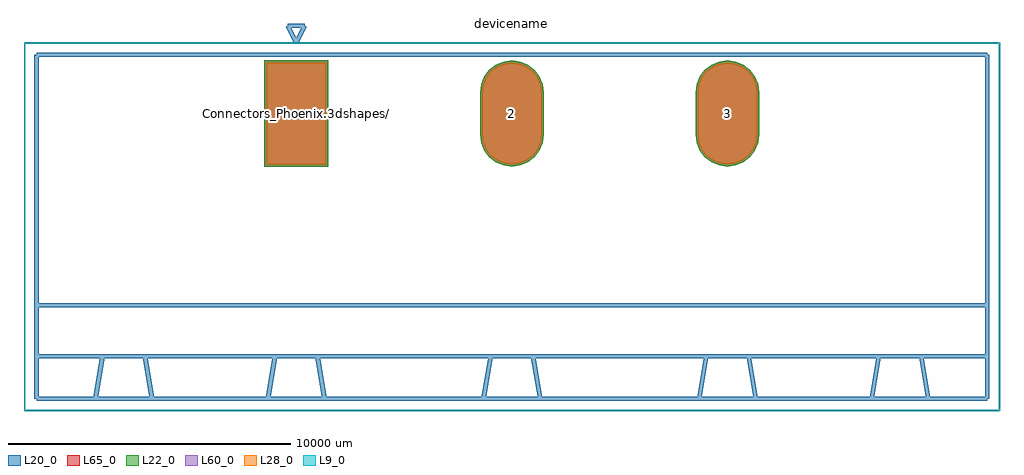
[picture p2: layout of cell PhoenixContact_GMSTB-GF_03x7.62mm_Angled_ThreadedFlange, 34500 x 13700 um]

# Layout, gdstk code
import gdstk
lib = gdstk.Library(unit=1e-6, precision=1e-09)
def R(c, l, rs):  # rectangles x0, y0, x1, y1
    for r in rs: c.add(gdstk.rectangle(r[:2], r[2:], *l))
def P(c, l, *ps):  # polygons
    for p in ps: c.add(gdstk.Polygon(p, *l))
L9_0 = (9, 0)
L20_0 = (20, 0)
L22_0 = (22, 0)
L28_0 = (28, 0)
L60_0 = (60, 0)
L65_0 = (65, 0)

phoenixcontact_gmstb_gf_ = lib.new_cell('PhoenixContact_GMSTB-GF_03x7.62mm_Angled_ThreadedFlange')
R(phoenixcontact_gmstb_gf_, L22_0, [(-1125,-1875,1125,1875)])
P(phoenixcontact_gmstb_gf_, L22_0, [(15240,-1875),(15531.171,-1836.667),(15802.5,-1724.279),(16035.495,-1545.495),(16214.279,-1312.5),(16326.667,-1041.171),(16365,-750),(16365,750),(16326.667,1041.171),(16214.279,1312.5),(16035.495,1545.495),(15802.5,1724.279),(15531.171,1836.667),(15240,1875),(14948.829,1836.667),(14677.5,1724.279),(14444.505,1545.495),(14265.721,1312.5),(14153.333,1041.171),(14115,750),(14115,-750),(14153.333,-1041.171),(14265.721,-1312.5),(14444.505,-1545.495),(14677.5,-1724.279),(14948.829,-1836.667)],
  [(7620,-1875),(7911.171,-1836.667),(8182.5,-1724.279),(8415.495,-1545.495),(8594.279,-1312.5),(8706.667,-1041.171),(8745,-750),(8745,750),(8706.667,1041.171),(8594.279,1312.5),(8415.495,1545.495),(8182.5,1724.279),(7911.171,1836.667),(7620,1875),(7328.829,1836.667),(7057.5,1724.279),(6824.505,1545.495),(6645.721,1312.5),(6533.333,1041.171),(6495,750),(6495,-750),(6533.333,-1041.171),(6645.721,-1312.5),(6824.505,-1545.495),(7057.5,-1724.279),(7328.829,-1836.667)])
R(phoenixcontact_gmstb_gf_, L28_0, [(-1050,-1800,1050,1800)])
P(phoenixcontact_gmstb_gf_, L28_0, [(15240,-1800),(15511.76,-1764.222),(15765,-1659.327),(15982.462,-1492.462),(16149.327,-1275),(16254.222,-1021.76),(16290,-750),(16290,750),(16254.222,1021.76),(16149.327,1275),(15982.462,1492.462),(15765,1659.327),(15511.76,1764.222),(15240,1800),(14968.24,1764.222),(14715,1659.327),(14497.538,1492.462),(14330.673,1275),(14225.778,1021.76),(14190,750),(14190,-750),(14225.778,-1021.76),(14330.673,-1275),(14497.538,-1492.462),(14715,-1659.327),(14968.24,-1764.222)],
  [(7620,-1800),(7891.76,-1764.222),(8145,-1659.327),(8362.462,-1492.462),(8529.327,-1275),(8634.222,-1021.76),(8670,-750),(8670,750),(8634.222,1021.76),(8529.327,1275),(8362.462,1492.462),(8145,1659.327),(7891.76,1764.222),(7620,1800),(7348.24,1764.222),(7095,1659.327),(6877.538,1492.462),(6710.673,1275),(6605.778,1021.76),(6570,750),(6570,-750),(6605.778,-1021.76),(6710.673,-1275),(6877.538,-1492.462),(7095,-1659.327),(7348.24,-1764.222)])
R(phoenixcontact_gmstb_gf_, L60_0, [(-1050,-1800,1050,1800)])
P(phoenixcontact_gmstb_gf_, L60_0, [(15240,-1800),(15511.76,-1764.222),(15765,-1659.327),(15982.462,-1492.462),(16149.327,-1275),(16254.222,-1021.76),(16290,-750),(16290,750),(16254.222,1021.76),(16149.327,1275),(15982.462,1492.462),(15765,1659.327),(15511.76,1764.222),(15240,1800),(14968.24,1764.222),(14715,1659.327),(14497.538,1492.462),(14330.673,1275),(14225.778,1021.76),(14190,750),(14190,-750),(14225.778,-1021.76),(14330.673,-1275),(14497.538,-1492.462),(14715,-1659.327),(14968.24,-1764.222)],
  [(7620,-1800),(7891.76,-1764.222),(8145,-1659.327),(8362.462,-1492.462),(8529.327,-1275),(8634.222,-1021.76),(8670,-750),(8670,750),(8634.222,1021.76),(8529.327,1275),(8362.462,1492.462),(8145,1659.327),(7891.76,1764.222),(7620,1800),(7348.24,1764.222),(7095,1659.327),(6877.538,1492.462),(6710.673,1275),(6605.778,1021.76),(6570,750),(6570,-750),(6605.778,-1021.76),(6710.673,-1275),(6877.538,-1492.462),(7095,-1659.327),(7348.24,-1764.222)])
R(phoenixcontact_gmstb_gf_, L65_0, [(-1125,-1875,1125,1875)])
P(phoenixcontact_gmstb_gf_, L65_0, [(15240,-1875),(15531.171,-1836.667),(15802.5,-1724.279),(16035.495,-1545.495),(16214.279,-1312.5),(16326.667,-1041.171),(16365,-750),(16365,750),(16326.667,1041.171),(16214.279,1312.5),(16035.495,1545.495),(15802.5,1724.279),(15531.171,1836.667),(15240,1875),(14948.829,1836.667),(14677.5,1724.279),(14444.505,1545.495),(14265.721,1312.5),(14153.333,1041.171),(14115,750),(14115,-750),(14153.333,-1041.171),(14265.721,-1312.5),(14444.505,-1545.495),(14677.5,-1724.279),(14948.829,-1836.667)],
  [(7620,-1875),(7911.171,-1836.667),(8182.5,-1724.279),(8415.495,-1545.495),(8594.279,-1312.5),(8706.667,-1041.171),(8745,-750),(8745,750),(8706.667,1041.171),(8594.279,1312.5),(8415.495,1545.495),(8182.5,1724.279),(7911.171,1836.667),(7620,1875),(7328.829,1836.667),(7057.5,1724.279),(6824.505,1545.495),(6645.721,1312.5),(6533.333,1041.171),(6495,750),(6495,-750),(6533.333,-1041.171),(6645.721,-1312.5),(6824.505,-1545.495),(7057.5,-1724.279),(7328.829,-1836.667)])
phoenixcontact_gmstb_gf_.add(gdstk.FlexPath([(-300,3100),(0,2500)], 149.998, ends="flush", simple_path=True, layer=20, datatype=0))  # L20_0
phoenixcontact_gmstb_gf_.add(gdstk.FlexPath([(300,3100),(-300,3100)], 149.998, ends="flush", simple_path=True, layer=20, datatype=0))  # L20_0
phoenixcontact_gmstb_gf_.add(gdstk.FlexPath([(0,2500),(300,3100)], 149.998, ends="flush", simple_path=True, layer=20, datatype=0))  # L20_0
phoenixcontact_gmstb_gf_.add(gdstk.FlexPath([(24850,2500),(-9600,2500)], 50, ends="flush", simple_path=True, layer=9, datatype=0))  # L9_0
phoenixcontact_gmstb_gf_.add(gdstk.FlexPath([(24850,-10500),(24850,2500)], 50, ends="flush", simple_path=True, layer=9, datatype=0))  # L9_0
phoenixcontact_gmstb_gf_.add(gdstk.FlexPath([(-9600,-10500),(24850,-10500)], 50, ends="flush", simple_path=True, layer=9, datatype=0))  # L9_0
phoenixcontact_gmstb_gf_.add(gdstk.FlexPath([(-9600,2500),(-9600,-10500)], 50, ends="flush", simple_path=True, layer=9, datatype=0))  # L9_0
phoenixcontact_gmstb_gf_.add(gdstk.FlexPath([(14490,-8580),(14240,-10080)], 149.998, ends="flush", simple_path=True, layer=20, datatype=0))  # L20_0
phoenixcontact_gmstb_gf_.add(gdstk.FlexPath([(15990,-8580),(14490,-8580)], 149.998, ends="flush", simple_path=True, layer=20, datatype=0))  # L20_0
phoenixcontact_gmstb_gf_.add(gdstk.FlexPath([(16240,-10080),(15990,-8580)], 149.998, ends="flush", simple_path=True, layer=20, datatype=0))  # L20_0
phoenixcontact_gmstb_gf_.add(gdstk.FlexPath([(14240,-10080),(16240,-10080)], 149.998, ends="flush", simple_path=True, layer=20, datatype=0))  # L20_0
phoenixcontact_gmstb_gf_.add(gdstk.FlexPath([(6870,-8580),(6620,-10080)], 149.998, ends="flush", simple_path=True, layer=20, datatype=0))  # L20_0
phoenixcontact_gmstb_gf_.add(gdstk.FlexPath([(8370,-8580),(6870,-8580)], 149.998, ends="flush", simple_path=True, layer=20, datatype=0))  # L20_0
phoenixcontact_gmstb_gf_.add(gdstk.FlexPath([(8620,-10080),(8370,-8580)], 149.998, ends="flush", simple_path=True, layer=20, datatype=0))  # L20_0
phoenixcontact_gmstb_gf_.add(gdstk.FlexPath([(6620,-10080),(8620,-10080)], 149.998, ends="flush", simple_path=True, layer=20, datatype=0))  # L20_0
phoenixcontact_gmstb_gf_.add(gdstk.FlexPath([(-750,-8580),(-1000,-10080)], 149.998, ends="flush", simple_path=True, layer=20, datatype=0))  # L20_0
phoenixcontact_gmstb_gf_.add(gdstk.FlexPath([(750,-8580),(-750,-8580)], 149.998, ends="flush", simple_path=True, layer=20, datatype=0))  # L20_0
phoenixcontact_gmstb_gf_.add(gdstk.FlexPath([(1000,-10080),(750,-8580)], 149.998, ends="flush", simple_path=True, layer=20, datatype=0))  # L20_0
phoenixcontact_gmstb_gf_.add(gdstk.FlexPath([(-1000,-10080),(1000,-10080)], 149.998, ends="flush", simple_path=True, layer=20, datatype=0))  # L20_0
phoenixcontact_gmstb_gf_.add(gdstk.FlexPath([(20590,-8580),(20340,-10080)], 149.998, ends="flush", simple_path=True, layer=20, datatype=0))  # L20_0
phoenixcontact_gmstb_gf_.add(gdstk.FlexPath([(22090,-8580),(20590,-8580)], 149.998, ends="flush", simple_path=True, layer=20, datatype=0))  # L20_0
phoenixcontact_gmstb_gf_.add(gdstk.FlexPath([(22340,-10080),(22090,-8580)], 149.998, ends="flush", simple_path=True, layer=20, datatype=0))  # L20_0
phoenixcontact_gmstb_gf_.add(gdstk.FlexPath([(20340,-10080),(22340,-10080)], 149.998, ends="flush", simple_path=True, layer=20, datatype=0))  # L20_0
phoenixcontact_gmstb_gf_.add(gdstk.FlexPath([(-6850,-8580),(-7100,-10080)], 149.998, ends="flush", simple_path=True, layer=20, datatype=0))  # L20_0
phoenixcontact_gmstb_gf_.add(gdstk.FlexPath([(-5350,-8580),(-6850,-8580)], 149.998, ends="flush", simple_path=True, layer=20, datatype=0))  # L20_0
phoenixcontact_gmstb_gf_.add(gdstk.FlexPath([(-5100,-10080),(-5350,-8580)], 149.998, ends="flush", simple_path=True, layer=20, datatype=0))  # L20_0
phoenixcontact_gmstb_gf_.add(gdstk.FlexPath([(-7100,-10080),(-5100,-10080)], 149.998, ends="flush", simple_path=True, layer=20, datatype=0))  # L20_0
phoenixcontact_gmstb_gf_.add(gdstk.FlexPath([(24420,-8580),(-9180,-8580)], 149.998, ends="flush", simple_path=True, layer=20, datatype=0))  # L20_0
phoenixcontact_gmstb_gf_.add(gdstk.FlexPath([(24420,-6780),(24420,-8580)], 149.998, ends="flush", simple_path=True, layer=20, datatype=0))  # L20_0
phoenixcontact_gmstb_gf_.add(gdstk.FlexPath([(-9180,-6780),(24420,-6780)], 149.998, ends="flush", simple_path=True, layer=20, datatype=0))  # L20_0
phoenixcontact_gmstb_gf_.add(gdstk.FlexPath([(-9180,-8580),(-9180,-6780)], 149.998, ends="flush", simple_path=True, layer=20, datatype=0))  # L20_0
phoenixcontact_gmstb_gf_.add(gdstk.FlexPath([(24420,2080),(-9180,2080)], 149.998, ends="flush", simple_path=True, layer=20, datatype=0))  # L20_0
phoenixcontact_gmstb_gf_.add(gdstk.FlexPath([(24420,-10080),(24420,2080)], 149.998, ends="flush", simple_path=True, layer=20, datatype=0))  # L20_0
phoenixcontact_gmstb_gf_.add(gdstk.FlexPath([(-9180,-10080),(24420,-10080)], 149.998, ends="flush", simple_path=True, layer=20, datatype=0))  # L20_0
phoenixcontact_gmstb_gf_.add(gdstk.FlexPath([(-9180,2080),(-9180,-10080)], 149.998, ends="flush", simple_path=True, layer=20, datatype=0))  # L20_0
phoenixcontact_gmstb_gf_.add(gdstk.Label('Connectors_Phoenix.3dshapes/PhoenixContact_GMSTB-GF_03x7.62mm_Angled_ThreadedFlange.wrl', (0,0), layer=12, texttype=0))
phoenixcontact_gmstb_gf_.add(gdstk.Label('3', (15240,0), layer=28, texttype=0))
phoenixcontact_gmstb_gf_.add(gdstk.Label('2', (7620,0), layer=28, texttype=0))
phoenixcontact_gmstb_gf_.add(gdstk.Label('1', (0,0), layer=28, texttype=0))
phoenixcontact_gmstb_gf_.add(gdstk.Label('type', (7620,-11500), layer=9, texttype=0))
phoenixcontact_gmstb_gf_.add(gdstk.Label('devicename', (7620,3200), layer=9, texttype=0))

lib.write_gds('PhoenixContact_GMSTB-GF_03x7.62mm_Angled_ThreadedFlange.gds')
